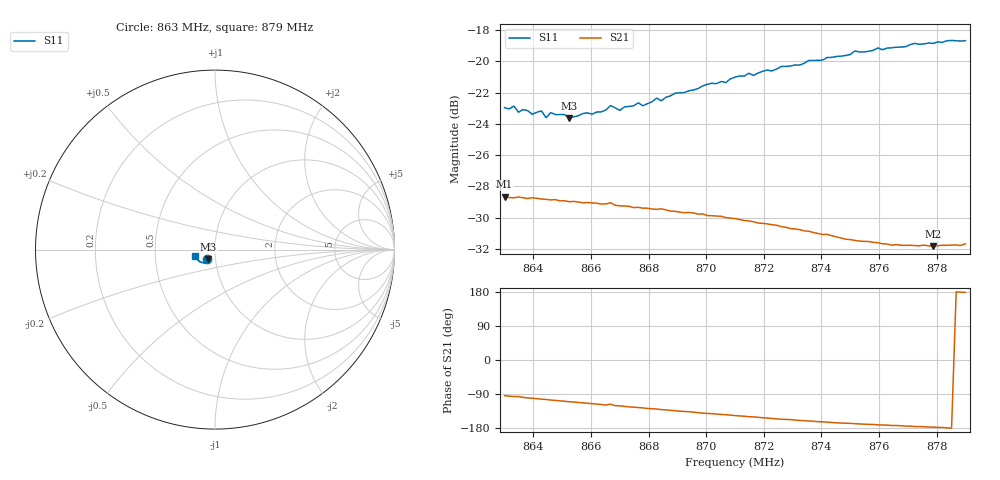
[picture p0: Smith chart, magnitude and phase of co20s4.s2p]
# HZ S RI R 50
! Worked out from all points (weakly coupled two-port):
!   101 points, 863 MHz to 879 MHz, reference 50 ohm
!   highest |S21| = -28.66 dB at 863 MHz (marker M1); lowest = -31.8 dB at 877.88 MHz (marker M2)
!   lowest |S11| = -23.6 dB at 865.24 MHz (marker M3), VSWR 1.14, Z = 46.2 - j5.11 ohm
!   |S11| at or under -10 dB: start of sweep to end of sweep
!   S12 and S22 are empty: the file has one direction only
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8.63e8  -0.045 -0.0551  -0.0026 -0.0368  0 0  0 0
8.6332e8  -0.046 -0.0554  -0.00408 -0.0364  0 0  0 0
8.6348e8  -0.0422 -0.0544  -0.00414 -0.0366  0 0  0 0
8.6364e8  -0.0432 -0.0552  -0.00545 -0.0362  0 0  0 0
8.6396e8  -0.0407 -0.0541  -0.00691 -0.036  0 0  0 0
8.6428e8  -0.0401 -0.0567  -0.00834 -0.0353  0 0  0 0
8.6444e8  -0.038 -0.0541  -0.00892 -0.0351  0 0  0 0
8.646e8  -0.04 -0.0557  -0.0097 -0.0347  0 0  0 0
8.6524e8  -0.0364 -0.055  -0.0122 -0.0334  0 0  0 0
8.6572e8  -0.0355 -0.0582  -0.0139 -0.0324  0 0  0 0
8.6636e8  -0.036 -0.0588  -0.0162 -0.031  0 0  0 0
8.6668e8  -0.0391 -0.0608  -0.0158 -0.0316  0 0  0 0
8.67e8  -0.0352 -0.0601  -0.0178 -0.0296  0 0  0 0
8.6764e8  -0.036 -0.0643  -0.0198 -0.0278  0 0  0 0
8.678e8  -0.0352 -0.063  -0.0202 -0.0273  0 0  0 0
8.6828e8  -0.0373 -0.0666  -0.0214 -0.026  0 0  0 0
8.6844e8  -0.0363 -0.0653  -0.0221 -0.0255  0 0  0 0
8.71e8  -0.0498 -0.0739  -0.0262 -0.0173  0 0  0 0
8.7372e8  -0.069 -0.0735  -0.0269 -0.00897  0 0  0 0
8.7644e8  -0.0924 -0.0607  -0.0256 -0.00321  0 0  0 0
8.7788e8  -0.1035 -0.0483  -0.0256 -0.00126  0 0  0 0
8.79e8  -0.1102 -0.0378  -0.0261 0.000791  0 0  0 0
